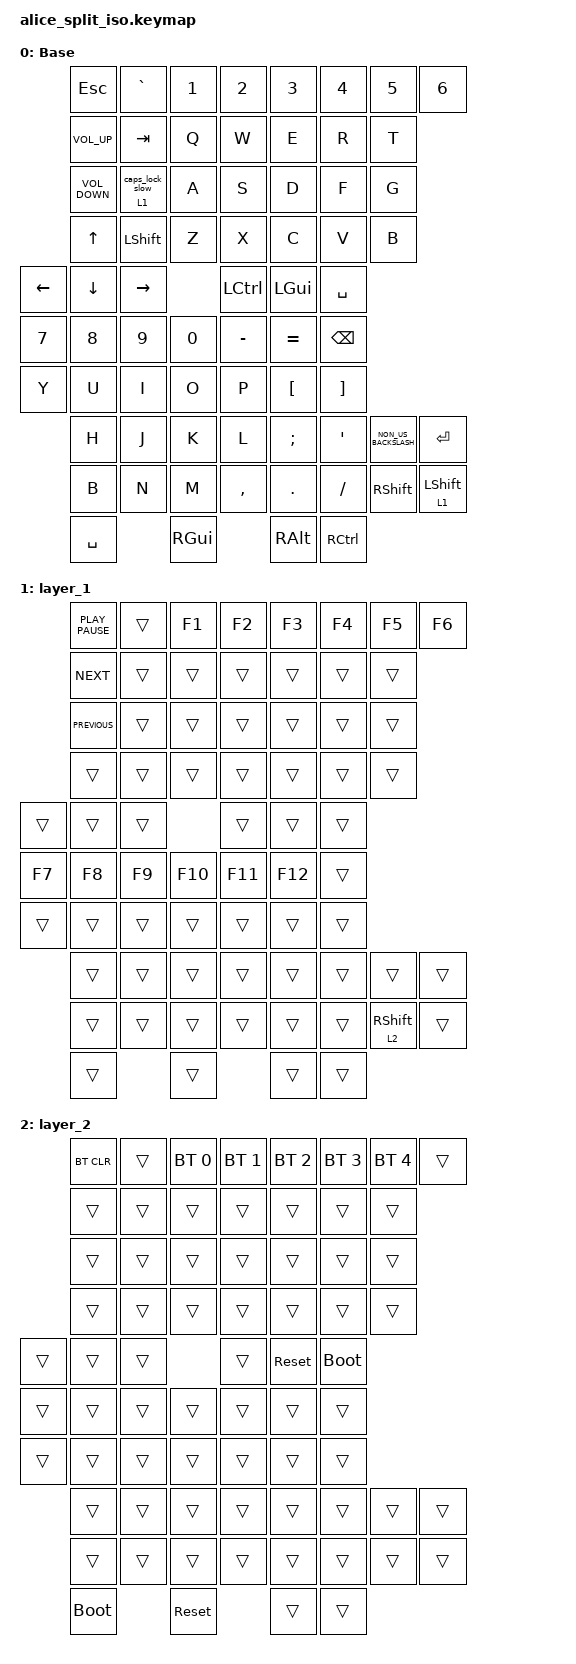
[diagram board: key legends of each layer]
#include <behaviors.dtsi>
#include <dt-bindings/zmk/bt.h>
#include <dt-bindings/zmk/keys.h>

/ {
    macros {
        caps_lock_slow: caps_lock_slow {
            compatible = "zmk,behavior-macro";
            #binding-cells = <0>;
            wait-ms = <0>;
            tap-ms = <80>;
            bindings = <&kp CAPSLOCK>;
        };
    };

    behaviors {
        lt_caps: layer_tap_caps {
            compatible = "zmk,behavior-hold-tap";
            #binding-cells = <2>;
            flavor = "tap-preferred";
            tapping-term-ms = <200>;
            quick-tap-ms = <175>;
            bindings = <&mo>, <&caps_lock_slow>;
        };
    };

    keymap {
        compatible = "zmk,keymap";

        default_layer {
            display-name = "Base";
            bindings = <
          &kp ESCAPE         &kp GRAVE       &kp NUMBER_1  &kp NUMBER_2   &kp NUMBER_3      &kp NUMBER_4          &kp N5            &kp NUMBER_6
          &kp C_VOLUME_UP    &kp TAB         &kp Q         &kp W          &kp E             &kp R                 &kp T
          &kp C_VOLUME_DOWN  &lt_caps 1 0    &kp A         &kp S          &kp D             &kp F                 &kp G
          &kp UP_ARROW       &kp LEFT_SHIFT  &kp Z         &kp X          &kp C             &kp V                 &kp B
&kp LEFT  &kp DOWN           &kp RIGHT       &kp LCTRL     &kp LEFT_GUI                     &kp SPACE
&kp N7    &kp N8             &kp N9          &kp N0        &kp MINUS      &kp EQUAL         &kp BACKSPACE
&kp Y     &kp U              &kp I           &kp O         &kp P          &kp LEFT_BRACKET  &kp RIGHT_BRACKET
&kp H     &kp J              &kp K           &kp L         &kp SEMICOLON  &kp SQT           &kp NON_US_BACKSLASH  &kp ENTER
&kp B     &kp N              &kp M           &kp COMMA     &kp PERIOD     &kp SLASH         &kp RIGHT_SHIFT       &lt 1 LEFT_SHIFT
          &kp SPACE                          &kp RGUI                     &kp RIGHT_ALT     &kp RCTRL
            >;
        };

        layer_1 {
            bindings = <
        &kp K_PLAY_PAUSE  &trans  &kp F1   &kp F2   &kp F3   &kp F4             &kp F5  &kp F6
        &kp K_NEXT        &trans  &trans   &trans   &trans   &trans             &trans
        &kp K_PREVIOUS    &trans  &trans   &trans   &trans   &trans             &trans
        &trans            &trans  &trans   &trans   &trans   &trans             &trans
&trans  &trans            &trans  &trans   &trans            &trans
&kp F7  &kp F8            &kp F9  &kp F10  &kp F11  &kp F12  &trans
&trans  &trans            &trans  &trans   &trans   &trans   &trans
&trans  &trans            &trans  &trans   &trans   &trans   &trans             &trans
&trans  &trans            &trans  &trans   &trans   &trans   &lt 2 RIGHT_SHIFT  &trans
        &trans                    &trans            &trans   &trans
            >;
        };

        layer_2 {
            bindings = <
        &bt BT_CLR   &trans  &bt BT_SEL 0  &bt BT_SEL 1  &bt BT_SEL 2  &bt BT_SEL 3  &bt BT_SEL 4  &trans
        &trans       &trans  &trans        &trans        &trans        &trans        &trans
        &trans       &trans  &trans        &trans        &trans        &trans        &trans
        &trans       &trans  &trans        &trans        &trans        &trans        &trans
&trans  &trans       &trans  &trans        &sys_reset                  &bootloader
&trans  &trans       &trans  &trans        &trans        &trans        &trans
&trans  &trans       &trans  &trans        &trans        &trans        &trans
&trans  &trans       &trans  &trans        &trans        &trans        &trans        &trans
&trans  &trans       &trans  &trans        &trans        &trans        &trans        &trans
        &bootloader          &sys_reset                  &trans        &trans
            >;
        };
    };
};
